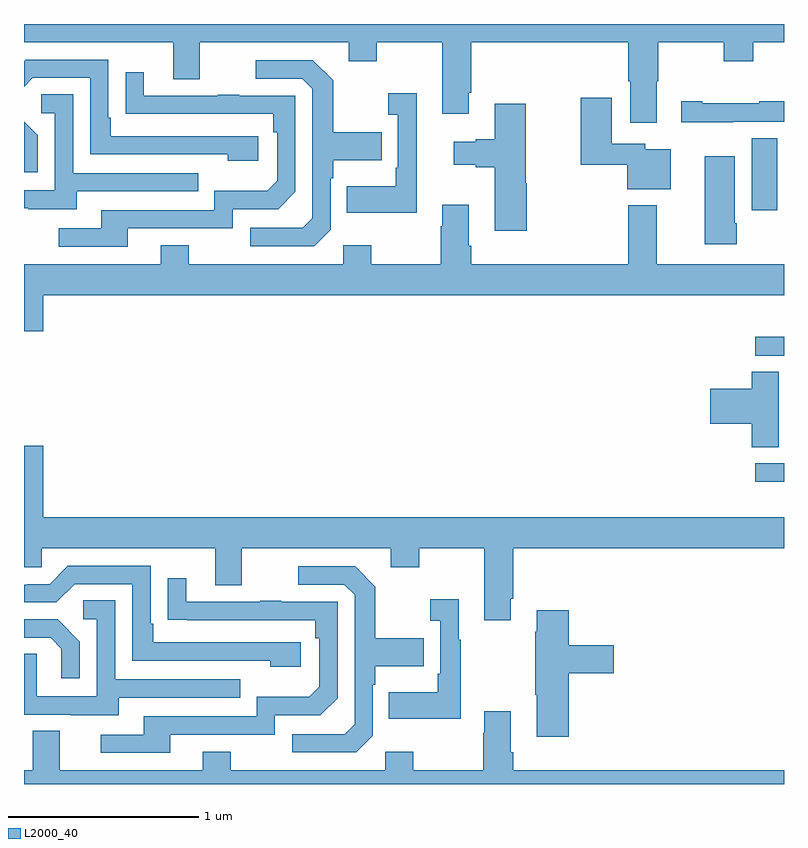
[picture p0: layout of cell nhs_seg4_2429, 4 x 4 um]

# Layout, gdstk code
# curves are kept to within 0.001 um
import gdstk
lib = gdstk.Library(unit=1e-6, precision=1e-09)
def R(c, l, rs):  # rectangles x0, y0, x1, y1
    for r in rs: c.add(gdstk.rectangle(r[:2], r[2:], *l))
def P(c, l, *ps):  # polygons
    for p in ps: c.add(gdstk.Polygon(p, *l))
L2000_40 = (2000, 40)

nhs_seg4_2429 = lib.new_cell('nhs_seg4_2429')
R(nhs_seg4_2429, L2000_40, [(240.849,810.492,241,810.588), (240.849,811.155,241,811.254), (240.83,811.92,240.964,812.3)])
P(nhs_seg4_2429, L2000_40, [(240.331,812.6),(240.339,812.6),(240.339,812.804),(240.682,812.804),(240.682,812.705),(240.837,812.705),(240.837,812.804),(241,812.804),(241,812.9),(237,812.9),(237,812.804),(237.785,812.804),(237.785,812.61),(237.925,812.61),(237.925,812.804),(238.709,812.804),(238.709,812.705),(238.857,812.705),(238.857,812.804),(239.201,812.804),(239.201,812.427),(239.341,812.427),(239.341,812.539),(239.354,812.539),(239.354,812.804),(240.179,812.804),(240.179,812.599),(240.191,812.599),(240.191,812.379),(240.331,812.379)],
  [(238.234,812.31),(237.457,812.31),(237.457,812.407),(237.444,812.407),(237.444,812.712),(237.009,812.712),(237,812.703),(237,812.571),(237.045,812.616),(237.348,812.616),(237.348,812.214),(238.073,812.214),(238.073,812.18),(238.234,812.18)],
  [(238.614,811.818),(238.614,812.087),(238.627,812.087),(238.627,812.183),(238.883,812.183),(238.883,812.331),(238.627,812.331),(238.627,812.603),(238.521,812.709),(238.221,812.709),(238.221,812.613),(238.464,812.613),(238.518,812.559),(238.518,811.878),(238.467,811.827),(238.191,811.827),(238.191,811.731),(238.527,811.731)],
  [(237.547,811.824),(238.098,811.824),(238.098,811.926),(238.338,811.926),(238.428,812.016),(238.428,812.523),(238.133,812.523),(238.133,812.528),(238.021,812.528),(238.021,812.523),(237.631,812.523),(237.631,812.647),(237.535,812.647),(237.535,812.428),(238.312,812.427),(238.312,812.33),(238.332,812.33),(238.332,812.076),(238.279,812.023),(238.002,812.023),(238.002,811.92),(237.407,811.92),(237.407,811.824),(237.183,811.824),(237.183,811.728),(237.547,811.728)],
  [(239.066,812.536),(238.917,812.536),(238.917,812.423),(238.968,812.423),(238.968,812.143),(238.956,812.143),(238.956,812.047),(238.699,812.047),(238.699,811.907),(239.066,811.907)],
  [(237.277,812.019),(237.917,812.019),(237.917,812.115),(237.258,812.115),(237.258,812.531),(237.09,812.531),(237.09,812.43),(237.162,812.43),(237.162,812.025),(237,812.025),(237,811.929),(237.023,811.929),(237.023,811.925),(237.277,811.925)],
  [(240.403,812.242),(240.27,812.242),(240.27,812.269),(240.094,812.269),(240.094,812.512),(239.929,812.512),(239.929,812.159),(240.176,812.159),(240.176,812.03),(240.403,812.03)],
  [(240.734,812.385),(241,812.385),(241,812.494),(240.871,812.494),(240.871,812.484),(240.571,812.484),(240.571,812.494),(240.459,812.494),(240.459,812.384),(240.734,812.384)],
  [(239.645,812.063),(239.64,812.063),(239.64,812.479),(239.477,812.479),(239.477,812.294),(239.378,812.294),(239.378,812.281),(239.262,812.281),(239.262,812.159),(239.378,812.159),(239.378,812.147),(239.477,812.147),(239.477,811.812),(239.645,811.812)],
  [(237.072,812.314),(237,812.386),(237,812.121),(237.072,812.121)],
  [(240.75,811.852),(240.742,811.852),(240.742,812.203),(240.584,812.203),(240.584,811.74),(240.75,811.74)],
  [(237.1,811.472),(241,811.472),(241,811.636),(240.331,811.636),(240.331,811.945),(240.179,811.945),(240.179,811.636),(239.354,811.636),(239.354,811.732),(239.341,811.732),(239.341,811.948),(239.201,811.948),(239.201,811.835),(239.194,811.835),(239.194,811.636),(238.827,811.636),(238.827,811.735),(238.68,811.735),(238.68,811.636),(237.867,811.636),(237.867,811.735),(237.719,811.735),(237.719,811.636),(237,811.636),(237,811.284),(237.1,811.284)],
  [(240.973,811.07),(240.83,811.07),(240.83,810.98),(240.612,810.98),(240.612,810.797),(240.83,810.797),(240.83,810.673),(240.973,810.673)],
  [(239.563,809.875),(239.576,809.875),(239.576,810.14),(241,810.14),(241,810.304),(237.1,810.304),(237.1,810.679),(237,810.679),(237,810.042),(237.093,810.042),(237.093,810.14),(238.007,810.14),(238.007,809.946),(238.147,809.946),(238.147,810.14),(238.931,810.14),(238.931,810.041),(239.079,810.041),(239.079,810.14),(239.423,810.14),(239.423,809.763),(239.563,809.763)],
  [(238.456,809.646),(237.679,809.646),(237.679,809.743),(237.666,809.743),(237.666,810.048),(237.231,810.048),(237.135,809.952),(237.017,809.952),(237.017,809.949),(237,809.949),(237,809.856),(237.171,809.856),(237.267,809.952),(237.57,809.952),(237.57,809.55),(238.295,809.55),(238.295,809.516),(238.456,809.516)],
  [(238.836,809.154),(238.836,809.423),(238.849,809.423),(238.849,809.519),(239.105,809.519),(239.105,809.667),(238.849,809.667),(238.849,809.939),(238.743,810.045),(238.443,810.045),(238.443,809.949),(238.686,809.949),(238.74,809.895),(238.74,809.214),(238.689,809.163),(238.413,809.163),(238.413,809.067),(238.749,809.067)],
  [(237.769,809.16),(238.32,809.16),(238.32,809.262),(238.56,809.262),(238.65,809.352),(238.65,809.859),(238.355,809.859),(238.355,809.864),(238.243,809.864),(238.243,809.859),(237.853,809.859),(237.853,809.983),(237.757,809.983),(237.757,809.764),(238.534,809.763),(238.534,809.666),(238.554,809.666),(238.554,809.412),(238.501,809.359),(238.224,809.359),(238.224,809.256),(237.629,809.256),(237.629,809.16),(237.405,809.16),(237.405,809.064),(237.769,809.064)],
  [(239.299,809.659),(239.287,809.659),(239.287,809.872),(239.139,809.872),(239.139,809.759),(239.19,809.759),(239.19,809.479),(239.178,809.479),(239.178,809.383),(238.921,809.383),(238.921,809.243),(239.299,809.243)],
  [(237.499,809.355),(238.139,809.355),(238.139,809.451),(237.48,809.451),(237.48,809.867),(237.312,809.867),(237.312,809.766),(237.384,809.766),(237.384,809.361),(237.066,809.361),(237.066,809.585),(237,809.585),(237,809.265),(237.245,809.265),(237.245,809.261),(237.499,809.261)],
  [(239.867,809.483),(240.103,809.483),(240.103,809.63),(239.867,809.63),(239.867,809.815),(239.699,809.815),(239.699,809.702),(239.692,809.702),(239.692,809.371),(239.699,809.371),(239.699,809.148),(239.867,809.148)],
  [(237.294,809.65),(237.178,809.766),(237,809.766),(237,809.67),(237.14,809.67),(237.197,809.613),(237.197,809.457),(237.294,809.457)],
  [(241,808.972),(239.576,808.972),(239.576,809.068),(239.563,809.068),(239.563,809.284),(239.423,809.284),(239.423,809.171),(239.416,809.171),(239.416,808.972),(239.049,808.972),(239.049,809.071),(238.902,809.071),(238.902,808.972),(238.089,808.972),(238.089,809.071),(237.941,809.071),(237.941,808.972),(237.187,808.972),(237.187,809.18),(237.047,809.18),(237.047,808.972),(237,808.972),(237,808.9),(241,808.9)])

lib.write_gds('nhs_seg4_2429.gds')
